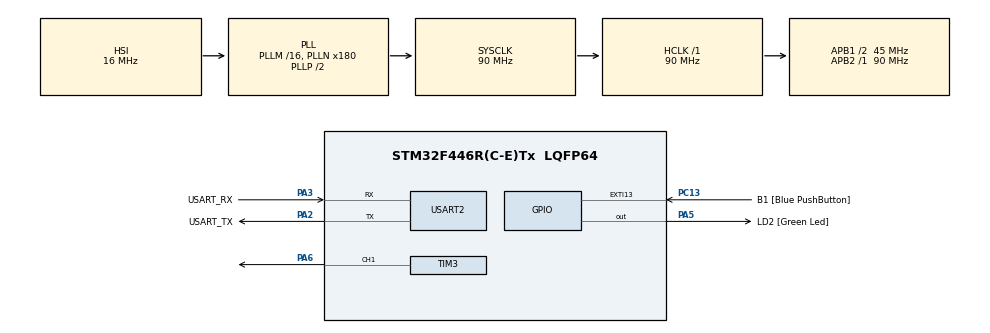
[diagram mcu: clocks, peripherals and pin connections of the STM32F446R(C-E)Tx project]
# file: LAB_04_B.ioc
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Mcu.Family=STM32F4
Mcu.Name=STM32F446R(C-E)Tx
Mcu.Package=LQFP64
NVIC.PriorityGroup=NVIC_PRIORITYGROUP_0
PA13.GPIO_Label=TMS
PA13.Mode=Serial_Wire
PA13.Signal=SYS_JTMS-SWDIO
PA14.GPIO_Label=TCK
PA14.Mode=Serial_Wire
PA14.Signal=SYS_JTCK-SWCLK
PA2.GPIO_Label=USART_TX
PA2.Mode=Asynchronous
PA2.Signal=USART2_TX
PA3.GPIO_Label=USART_RX
PA3.Mode=Asynchronous
PA3.Signal=USART2_RX
PA5.GPIO_Label=LD2 [Green Led]
PA5.Signal=GPIO_Output
PA6.Signal=S_TIM3_CH1
PB3.GPIO_Label=SWO
PB3.Signal=SYS_JTDO-SWO
PC13.GPIO_Label=B1 [Blue PushButton]
PC13.GPIO_ModeDefaultEXTI=GPIO_MODE_IT_FALLING
PC13.Signal=GPXTI13
PC14-OSC32_IN.Mode=LSE-External-Oscillator
PC14-OSC32_IN.Signal=RCC_OSC32_IN
PC15-OSC32_OUT.Mode=LSE-External-Oscillator
PC15-OSC32_OUT.Signal=RCC_OSC32_OUT
PH0-OSC_IN.Mode=HSE-External-Oscillator
PH0-OSC_IN.Signal=RCC_OSC_IN
PH1-OSC_OUT.Mode=HSE-External-Oscillator
PH1-OSC_OUT.Signal=RCC_OSC_OUT
ProjectManager.HeapSize=0x200
ProjectManager.StackSize=0x400
ProjectManager.TargetToolchain=STM32CubeIDE
RCC.48MHZClocksFreq_Value=84000000
RCC.AHBFreq_Value=90000000
RCC.APB1CLKDivider=RCC_HCLK_DIV2
RCC.APB1Freq_Value=45000000
RCC.APB1TimFreq_Value=90000000
RCC.APB2Freq_Value=90000000
RCC.APB2TimFreq_Value=90000000
RCC.CortexFreq_Value=90000000
RCC.FLatency-AdvancedSettings=FLASH_LATENCY_2
RCC.HCLKFreq_Value=90000000
RCC.HSE_VALUE=8000000
RCC.HSI_VALUE=16000000
RCC.PLLN=180
RCC.SYSCLKFreq_VALUE=90000000
RCC.SYSCLKSource=RCC_SYSCLKSOURCE_PLLCLK
RCC.USBFreq_Value=90000000
RCC.VCOOutputFreq_Value=180000000
SH.S_TIM3_CH1.0=TIM3_CH1,PWM Generation1 CH1
TIM3.AutoReloadPreload=TIM_AUTORELOAD_PRELOAD_ENABLE
TIM3.Channel-PWM\ Generation1\ CH1=TIM_CHANNEL_1
TIM3.Period=999
TIM3.Prescaler=89
TIM6.AutoReloadPreload=TIM_AUTORELOAD_PRELOAD_ENABLE
TIM6.Prescaler=89
USART2.VirtualMode=VM_ASYNC
VP_TIM6_VS_ClockSourceINT.Mode=Enable_Timer
board=NUCLEO-F446RE

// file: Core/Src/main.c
/* USER CODE BEGIN Header */
/**
  ******************************************************************************
  * @file           : main.c
  * @brief          : Main program body
  ******************************************************************************
  * @attention
  *
  * Copyright (c) 2026 STMicroelectronics.
  * All rights reserved.
  *
  * This software is licensed under terms that can be found in the LICENSE file
  * in the root directory of this software component.
  * If no LICENSE file comes with this software, it is provided AS-IS.
  *
  ******************************************************************************
  */
/* USER CODE END Header */
#include "main.h"

/* USER CODE BEGIN Includes */
#include <stdio.h>
#include <string.h>
#include <math.h>
/* USER CODE END Includes */

TIM_HandleTypeDef htim3;
TIM_HandleTypeDef htim6;

UART_HandleTypeDef huart2;

/* USER CODE BEGIN PV */
char msg[64];
/* USER CODE END PV */

void SystemClock_Config(void);
static void MX_GPIO_Init(void);
static void MX_TIM3_Init(void);
static void MX_TIM6_Init(void);
static void MX_USART2_UART_Init(void);

/* USER CODE BEGIN 0 */

/* ── TIM6 delays — never touch TIM3 ── */
void delay_us(uint32_t us)
{
    __HAL_TIM_SET_COUNTER(&htim6, 0);
    while (__HAL_TIM_GET_COUNTER(&htim6) < us);
}

void delay_ms(uint32_t ms)
{
    for (uint32_t i = 0; i < ms; i++) delay_us(1000);
}

/* ── UART helper ── */
void uart_print(const char *str)
{
    HAL_UART_Transmit(&huart2, (uint8_t*)str, strlen(str), HAL_MAX_DELAY);
}

/* ── PWM duty — Algorithm A4.2 ── */
void PWM_SetDuty(uint8_t pct)
{
    if (pct > 100) pct = 100;
    //uint32_t ccr = (uint32_t)(pct * (__HAL_TIM_GET_AUTORELOAD(&htim3) + 1)) / 100;
    uint32_t ccr = ((uint32_t)pct * (__HAL_TIM_GET_AUTORELOAD(&htim3) + 1)) / 100;
    __HAL_TIM_SET_COMPARE(&htim3, TIM_CHANNEL_1, ccr);
}

/* ── Breathing cycle — Algorithm A4.3 ── */
void breathing_cycle(uint8_t cycle_num)
{
    uint8_t LUT[256];
    for (int i = 0; i < 256; i++)
        LUT[i] = (uint8_t)floor(50.0f * (1.0f + sinf(2.0f * M_PI * i / 256.0f)));

    sprintf(msg, "  Cycle %d/5 running...\r\n", cycle_num);
    uart_print(msg);

    for (int i = 0; i < 256; i++) {
        PWM_SetDuty(LUT[i]);
        delay_ms(8);            // TIM6 only — TIM3 PWM uninterrupted
    }
    uart_print("  Done.\r\n");
}

/* USER CODE END 0 */

int main(void)
{

  /* MCU Configuration--------------------------------------------------------*/

  /* Reset of all peripherals, Initializes the Flash interface and the Systick. */
  HAL_Init();

  /* Configure the system clock */
  SystemClock_Config();

  /* Initialize all configured peripherals */
  MX_GPIO_Init();
  MX_TIM3_Init();
  MX_TIM6_Init();
  MX_USART2_UART_Init();
  /* USER CODE BEGIN 2 */

  /* Start both timers */
  HAL_TIM_Base_Start(&htim6);
  HAL_TIM_PWM_Start(&htim3, TIM_CHANNEL_1);

  /* ── 1. Duty cycle sweep 0%..100% ── */
  uart_print("Duty Cycle and CCR1 Value Record:\r\n");
  for (int i = 0; i <= 100; i += 10) {
      PWM_SetDuty(i);
      uint32_t ccr = __HAL_TIM_GET_COMPARE(&htim3, TIM_CHANNEL_1);
      sprintf(msg, "Duty = %d%%  CCR1 = %lu\r\n", i, ccr);
      uart_print(msg);
      delay_ms(300);
  }

  /* ── 2. Five breathing cycles ── */
  uart_print("\r\nFive Complete Breathing Cycles:\r\n");
  for (int i = 1; i <= 5; i++)
      breathing_cycle(i);

  /* ── 3. Final hold at 50% ── */
  PWM_SetDuty(50);
  uint32_t final_ccr = __HAL_TIM_GET_COMPARE(&htim3, TIM_CHANNEL_1);
  sprintf(msg, "\r\nat Exactly Duty = 50%%  CCR1 = %lu\r\n", final_ccr);
  uart_print(msg);

  uart_print("=== Demo Complete ===\r\n");

  /* USER CODE END 2 */

  /* Infinite loop */
  while (1)
  {

  }
}

void SystemClock_Config(void)
{
  RCC_OscInitTypeDef RCC_OscInitStruct = {0};
  RCC_ClkInitTypeDef RCC_ClkInitStruct = {0};

  /** Configure the main internal regulator output voltage
  */
  __HAL_RCC_PWR_CLK_ENABLE();
  __HAL_PWR_VOLTAGESCALING_CONFIG(PWR_REGULATOR_VOLTAGE_SCALE1);

  /** Initializes the RCC Oscillators according to the specified parameters
  * in the RCC_OscInitTypeDef structure.
  */
  RCC_OscInitStruct.OscillatorType = RCC_OSCILLATORTYPE_HSI;
  RCC_OscInitStruct.HSIState = RCC_HSI_ON;
  RCC_OscInitStruct.HSICalibrationValue = RCC_HSICALIBRATION_DEFAULT;
  RCC_OscInitStruct.PLL.PLLState = RCC_PLL_ON;
  RCC_OscInitStruct.PLL.PLLSource = RCC_PLLSOURCE_HSI;
  RCC_OscInitStruct.PLL.PLLM = 16;
  RCC_OscInitStruct.PLL.PLLN = 180;
  RCC_OscInitStruct.PLL.PLLP = RCC_PLLP_DIV2;
  RCC_OscInitStruct.PLL.PLLQ = 2;
  RCC_OscInitStruct.PLL.PLLR = 2;
  if (HAL_RCC_OscConfig(&RCC_OscInitStruct) != HAL_OK)
  {
    Error_Handler();
  }

  /** Initializes the CPU, AHB and APB buses clocks
  */
  RCC_ClkInitStruct.ClockType = RCC_CLOCKTYPE_HCLK|RCC_CLOCKTYPE_SYSCLK
                              |RCC_CLOCKTYPE_PCLK1|RCC_CLOCKTYPE_PCLK2;
  RCC_ClkInitStruct.SYSCLKSource = RCC_SYSCLKSOURCE_PLLCLK;
  RCC_ClkInitStruct.AHBCLKDivider = RCC_SYSCLK_DIV1;
  RCC_ClkInitStruct.APB1CLKDivider = RCC_HCLK_DIV2;
  RCC_ClkInitStruct.APB2CLKDivider = RCC_HCLK_DIV1;

  if (HAL_RCC_ClockConfig(&RCC_ClkInitStruct, FLASH_LATENCY_2) != HAL_OK)
  {
    Error_Handler();
  }
}

static void MX_TIM3_Init(void)
{

  TIM_MasterConfigTypeDef sMasterConfig = {0};
  TIM_OC_InitTypeDef sConfigOC = {0};

  htim3.Instance = TIM3;
  htim3.Init.Prescaler = 89;
  htim3.Init.CounterMode = TIM_COUNTERMODE_UP;
  htim3.Init.Period = 999;
  htim3.Init.ClockDivision = TIM_CLOCKDIVISION_DIV1;
  htim3.Init.AutoReloadPreload = TIM_AUTORELOAD_PRELOAD_ENABLE;
  if (HAL_TIM_PWM_Init(&htim3) != HAL_OK)
  {
    Error_Handler();
  }
  sMasterConfig.MasterOutputTrigger = TIM_TRGO_RESET;
  sMasterConfig.MasterSlaveMode = TIM_MASTERSLAVEMODE_DISABLE;
  if (HAL_TIMEx_MasterConfigSynchronization(&htim3, &sMasterConfig) != HAL_OK)
  {
    Error_Handler();
  }
  sConfigOC.OCMode = TIM_OCMODE_PWM1;
  sConfigOC.Pulse = 0;
  sConfigOC.OCPolarity = TIM_OCPOLARITY_HIGH;
  sConfigOC.OCFastMode = TIM_OCFAST_DISABLE;
  if (HAL_TIM_PWM_ConfigChannel(&htim3, &sConfigOC, TIM_CHANNEL_1) != HAL_OK)
  {
    Error_Handler();
  }
  HAL_TIM_MspPostInit(&htim3);

}

static void MX_TIM6_Init(void)
{

  TIM_MasterConfigTypeDef sMasterConfig = {0};

  htim6.Instance = TIM6;
  htim6.Init.Prescaler = 89;
  htim6.Init.CounterMode = TIM_COUNTERMODE_UP;
  htim6.Init.Period = 65535;
  htim6.Init.AutoReloadPreload = TIM_AUTORELOAD_PRELOAD_ENABLE;
  if (HAL_TIM_Base_Init(&htim6) != HAL_OK)
  {
    Error_Handler();
  }
  sMasterConfig.MasterOutputTrigger = TIM_TRGO_RESET;
  sMasterConfig.MasterSlaveMode = TIM_MASTERSLAVEMODE_DISABLE;
  if (HAL_TIMEx_MasterConfigSynchronization(&htim6, &sMasterConfig) != HAL_OK)
  {
    Error_Handler();
  }

}

static void MX_USART2_UART_Init(void)
{

  huart2.Instance = USART2;
  huart2.Init.BaudRate = 115200;
  huart2.Init.WordLength = UART_WORDLENGTH_8B;
  huart2.Init.StopBits = UART_STOPBITS_1;
  huart2.Init.Parity = UART_PARITY_NONE;
  huart2.Init.Mode = UART_MODE_TX_RX;
  huart2.Init.HwFlowCtl = UART_HWCONTROL_NONE;
  huart2.Init.OverSampling = UART_OVERSAMPLING_16;
  if (HAL_UART_Init(&huart2) != HAL_OK)
  {
    Error_Handler();
  }

}

static void MX_GPIO_Init(void)
{
  GPIO_InitTypeDef GPIO_InitStruct = {0};

  /* GPIO Ports Clock Enable */
  __HAL_RCC_GPIOC_CLK_ENABLE();
  __HAL_RCC_GPIOH_CLK_ENABLE();
  __HAL_RCC_GPIOA_CLK_ENABLE();
  __HAL_RCC_GPIOB_CLK_ENABLE();

  /*Configure GPIO pin Output Level */
  HAL_GPIO_WritePin(LD2_GPIO_Port, LD2_Pin, GPIO_PIN_RESET);

  /*Configure GPIO pin : B1_Pin */
  GPIO_InitStruct.Pin = B1_Pin;
  GPIO_InitStruct.Mode = GPIO_MODE_IT_FALLING;
  GPIO_InitStruct.Pull = GPIO_NOPULL;
  HAL_GPIO_Init(B1_GPIO_Port, &GPIO_InitStruct);

  /*Configure GPIO pin : LD2_Pin */
  GPIO_InitStruct.Pin = LD2_Pin;
  GPIO_InitStruct.Mode = GPIO_MODE_OUTPUT_PP;
  GPIO_InitStruct.Pull = GPIO_NOPULL;
  GPIO_InitStruct.Speed = GPIO_SPEED_FREQ_LOW;
  HAL_GPIO_Init(LD2_GPIO_Port, &GPIO_InitStruct);

}

void Error_Handler(void)
{
  __disable_irq();
  while (1)
  {
  }
}
